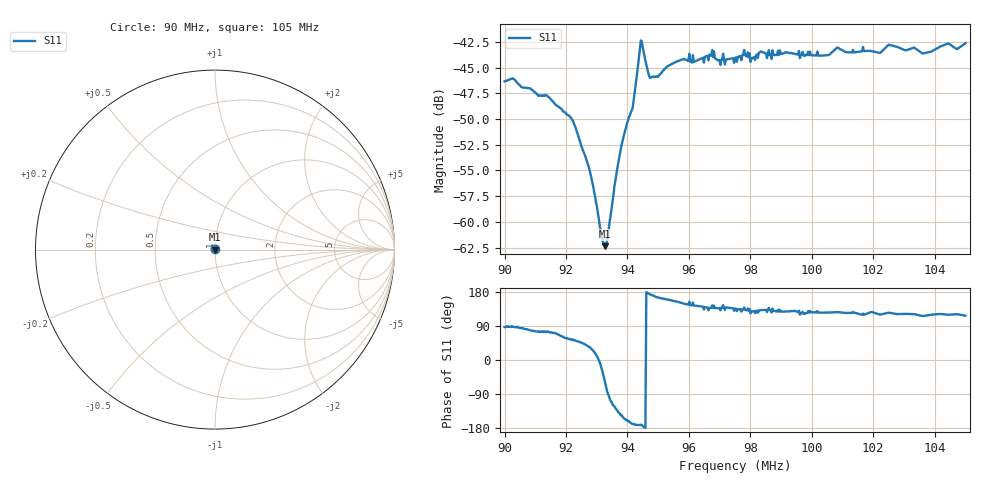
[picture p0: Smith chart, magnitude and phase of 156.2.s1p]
# HZ S RI R 50
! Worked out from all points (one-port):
!   505 points, 90 MHz to 105 MHz, reference 50 ohm
!   lowest |S11| = -62.4 dB at 93.27 MHz (marker M1), VSWR 1.00, Z = 50 - j0.0664 ohm
!   |S11| at or under -10 dB: start of sweep to end of sweep
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9e7  0.000259 0.00482
9.026786e7  0.000198 0.00498
9.136905e7  0.00114 0.00397
9.187501e7  0.00165 0.00309
9.223215e7  0.00188 0.00245
9.267858e7  0.00155 0.00122
9.288691e7  0.00134 0.000616
9.315477e7  0.000782 -0.000314
9.327382e7  0.000373 -0.000664
9.339287e7  -7.63e-05 -0.000923
9.375001e7  -0.00167 -0.00132
9.416668e7  -0.00351 -0.000689
9.443454e7  -0.00753 -0.00123
9.449406e7  -0.00705 -0.000734
9.467263e7  -0.00532 0.000385
9.476192e7  -0.00499 0.000685
9.562502e7  -0.00541 0.00268
9.675597e7  -0.00555 0.00401
9.696431e7  -0.00448 0.00417
9.750002e7  -0.00447 0.00438
9.833336e7  -0.00447 0.00504
9.937503e7  -0.00414 0.00512
1.0125e8  -0.00377 0.00551
1.022024e8  -0.00333 0.00573
1.025298e8  -0.00411 0.00599
1.03125e8  -0.0036 0.00586
1.036608e8  -0.00295 0.00592
1.05e8  -0.00336 0.00658
